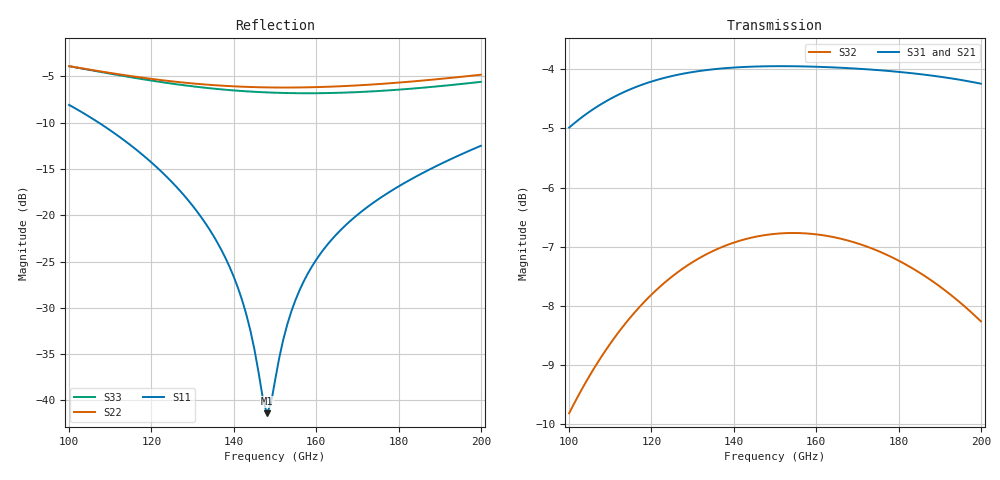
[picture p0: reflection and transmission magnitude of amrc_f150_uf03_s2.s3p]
! Created with skrf 2.1.0 (http://scikit-rf.org).
# GHz S DB R 50.0
! Port[1] = P1
! Port[2] = P2
! Port[3] = P3
!freq dBS11 angS11 dBS12 angS12 dBS13 angS13
! dBS21 angS21 dBS22 angS22 dBS23 angS23
! dBS31 angS31 dBS32 angS32 dBS33 angS33
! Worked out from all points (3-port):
!   101 points, 100 GHz to 200 GHz, reference 50 ohm
!   strongest paths, dB at 100 GHz, 125 GHz, 150 GHz, 175 GHz, 200 GHz:
!     S31: -5.0, -4.1, -3.9, -4.0, -4.2
!     S21: -4.8, -4.0, -4.0, -4.2, -4.6
!     S32: -9.8, -7.5, -6.8, -7.1, -8.3
!   lowest |S11| = -41.4 dB at 148 GHz (marker M1), VSWR 1.02, Z = 50.9 - j0.0796 ohm
!   |S11| at or under -10 dB: 107.2 GHz to end of sweep
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100  -8.08 129.9  -4.76 -9.9  -4.99 166.5
     -4.76 -9.9  -3.89 60.2  -9.82 91.2
     -4.99 166.5  -9.82 91.2  -3.89 50.7
120  -14.30 101.9  -4.08 -40.2  -4.21 134.6
     -4.08 -40.2  -5.26 42.4  -7.81 61.6
     -4.21 134.6  -7.81 61.6  -5.45 30.3
134  -21.47 84.5  -3.95 -59.4  -4.01 114.3
     -3.95 -59.4  -5.90 31.9  -7.11 42.5
     -4.01 114.3  -7.11 42.5  -6.27 18.4
142  -29.15 69.7  -3.94 -69.7  -3.96 103.4
     -3.94 -69.7  -6.11 26.3  -6.89 32.2
     -3.96 103.4  -6.89 32.2  -6.58 12.2
148  -41.40 -5.3  -3.95 -77.3  -3.95 95.4
     -3.95 -77.3  -6.18 22.0  -6.80 24.7
     -3.95 95.4  -6.80 24.7  -6.72 7.7
150  -37.88 -60.0  -3.96 -79.7  -3.95 92.8
     -3.96 -79.7  -6.20 20.6  -6.78 22.2
     -3.95 92.8  -6.78 22.2  -6.76 6.2
155  -29.12 -90.6  -3.99 -85.9  -3.95 86.3
     -3.99 -85.9  -6.19 17.0  -6.77 16.1
     -3.95 86.3  -6.77 16.1  -6.81 2.5
164  -22.51 -103.0  -4.05 -96.7  -3.97 74.9
     -4.05 -96.7  -6.10 10.3  -6.84 5.3
     -3.97 74.9  -6.84 5.3  -6.78 -4.3
178  -17.43 -112.9  -4.21 -113.4  -4.03 57.3
     -4.21 -113.4  -5.73 -0.7  -7.17 -11.1
     -4.03 57.3  -7.17 -11.1  -6.49 -15.2
200  -12.49 -127.9  -4.60 -139.9  -4.24 29.5
     -4.60 -139.9  -4.81 -20.1  -8.26 -36.8
     -4.24 29.5  -8.26 -36.8  -5.58 -34.1
